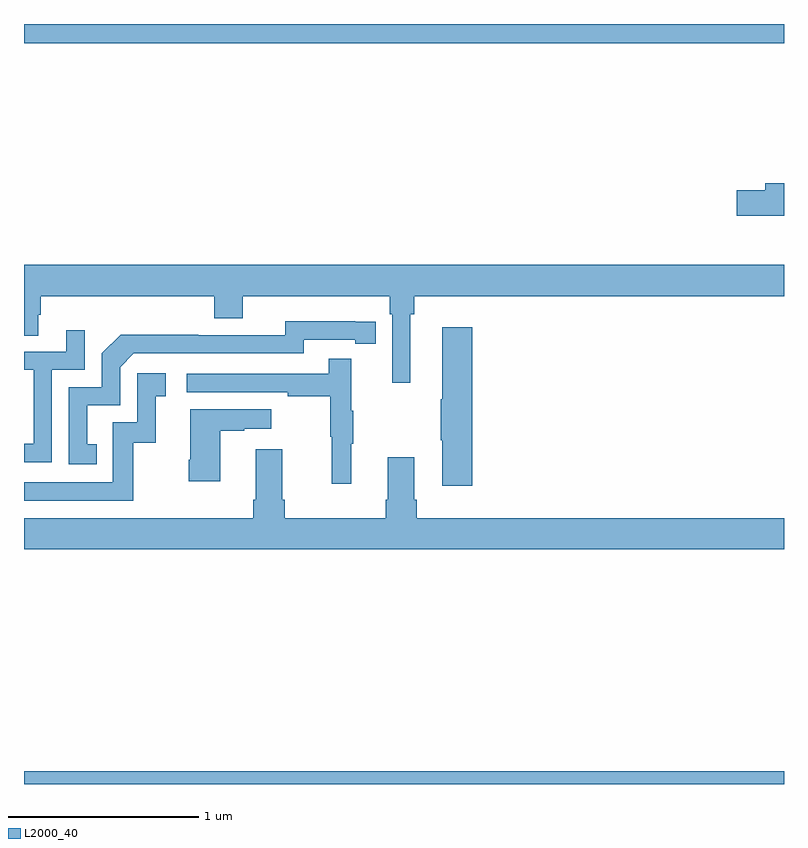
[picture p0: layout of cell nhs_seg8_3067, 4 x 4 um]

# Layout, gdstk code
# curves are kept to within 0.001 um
import gdstk
lib = gdstk.Library(unit=1e-6, precision=1e-09)
def R(c, l, rs):  # rectangles x0, y0, x1, y1
    for r in rs: c.add(gdstk.rectangle(r[:2], r[2:], *l))
def P(c, l, *ps):  # polygons
    for p in ps: c.add(gdstk.Polygon(p, *l))
L2000_40 = (2000, 40)

nhs_seg8_3067 = lib.new_cell('nhs_seg8_3067')
R(nhs_seg8_3067, L2000_40, [(301,1145.9,305,1145.968), (301,1149.8,305,1149.9)])
P(nhs_seg8_3067, L2000_40, [(305,1149.062),(304.901,1149.062),(304.901,1149.026),(304.752,1149.026),(304.752,1148.891),(305,1148.891)],
  [(303.034,1148.372),(303.053,1148.372),(303.053,1148.468),(305,1148.468),(305,1148.632),(301,1148.632),(301,1148.26),(301.075,1148.26),(301.075,1148.37),(301.088,1148.37),(301.088,1148.468),(302,1148.468),(302,1148.351),(302.152,1148.351),(302.152,1148.468),(302.924,1148.468),(302.924,1148.372),(302.937,1148.372),(302.937,1148.013),(303.034,1148.013)],
  [(301.382,1147.689),(301.333,1147.689),(301.333,1147.893),(301.506,1147.893),(301.506,1148.094),(301.578,1148.166),(302.472,1148.166),(302.472,1148.238),(302.744,1148.238),(302.744,1148.218),(302.852,1148.218),(302.852,1148.334),(302.376,1148.335),(302.376,1148.262),(301.916,1148.262),(301.916,1148.264),(301.508,1148.264),(301.41,1148.166),(301.41,1147.989),(301.236,1147.989),(301.236,1147.584),(301.382,1147.584)],
  [(303.359,1148.305),(303.2,1148.305),(303.2,1147.925),(303.193,1147.925),(303.193,1147.708),(303.2,1147.708),(303.2,1147.47),(303.359,1147.47)],
  [(301.146,1148.079),(301.32,1148.079),(301.32,1148.287),(301.223,1148.287),(301.223,1148.175),(301,1148.175),(301,1148.079),(301.05,1148.079),(301.05,1147.69),(301,1147.69),(301,1147.593),(301.146,1147.593)],
  [(302.723,1147.691),(302.734,1147.691),(302.734,1147.865),(302.723,1147.865),(302.723,1148.137),(302.605,1148.137),(302.605,1148.058),(301.857,1148.058),(301.857,1147.962),(302.389,1147.962),(302.389,1147.942),(302.613,1147.942),(302.613,1147.728),(302.62,1147.728),(302.62,1147.479),(302.723,1147.479)],
  [(301.576,1147.695),(301.694,1147.695),(301.694,1147.941),(301.747,1147.941),(301.747,1148.062),(301.596,1148.062),(301.596,1147.803),(301.467,1147.803),(301.467,1147.488),(301,1147.488),(301,1147.392),(301.576,1147.392)],
  [(302.032,1147.759),(302.159,1147.759),(302.159,1147.769),(302.302,1147.769),(302.302,1147.873),(301.874,1147.873),(301.874,1147.606),(301.867,1147.606),(301.867,1147.494),(302.032,1147.494)],
  [(305,1147.3),(303.068,1147.3),(303.068,1147.396),(303.055,1147.396),(303.055,1147.621),(302.915,1147.621),(302.915,1147.396),(302.903,1147.396),(302.903,1147.3),(302.372,1147.3),(302.372,1147.396),(302.359,1147.396),(302.359,1147.663),(302.219,1147.663),(302.219,1147.396),(302.207,1147.396),(302.207,1147.3),(301,1147.3),(301,1147.136),(305,1147.136)])

lib.write_gds('nhs_seg8_3067.gds')
